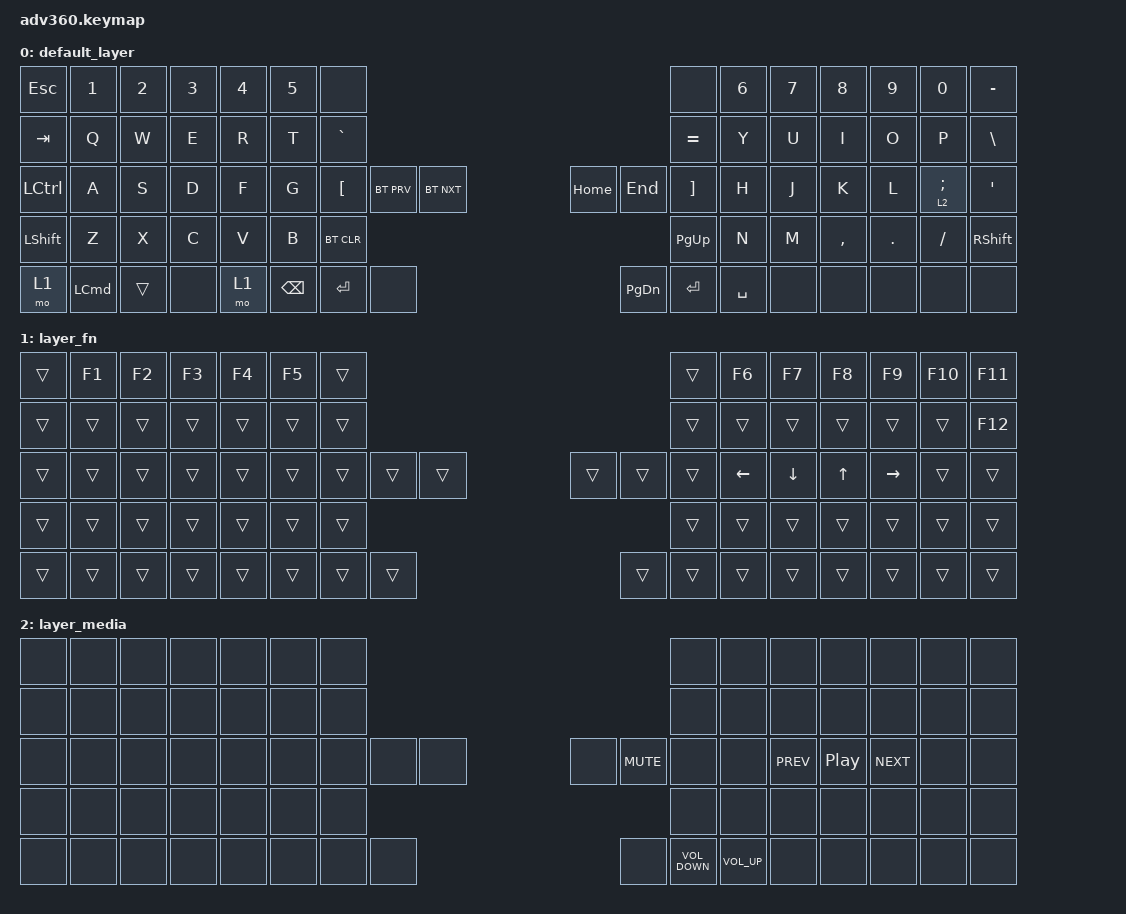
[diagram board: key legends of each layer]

/*
 * Copyright (c) 2020 The ZMK Contributors
 *
 * SPDX-License-Identifier: MIT
 */


/* THIS FILE WAS GENERATED!
 *
 * This file was generated automatically. You may or may not want to
 * edit it directly.
 */

#include <behaviors.dtsi>
#include <dt-bindings/zmk/keys.h>
#include <dt-bindings/zmk/bt.h>

/ {
  behaviors {
    #include "macros.dtsi"

    hm: homerow_mods {
        compatible = "zmk,behavior-hold-tap";
        label = "HOMEROW_MODS";
        #binding-cells = <2>;
        tapping-term-ms = <200>;
        quick_tap_ms = <175>;
        flavor = "tap-preferred";
        bindings = <&kp>, <&kp>;
    };
  };

    keymap {
        compatible = "zmk,keymap";


        default_layer {
            bindings = <
          &kp ESC    &kp N1  &kp N2  &kp N3  &kp N4  &kp N5                       &none                                                                            &none  &kp N6  &kp N7     &kp N8   &kp N9           &kp N0  &kp MINUS
          &kp TAB     &kp Q   &kp W   &kp E   &kp R   &kp T                   &kp GRAVE                                                                        &kp EQUAL   &kp Y   &kp U      &kp I    &kp O            &kp P   &kp BSLH
 &kp LEFT_CONTROL     &kp A   &kp S   &kp D   &kp F   &kp G            &kp LEFT_BRACKET  &bt BT_PRV  &bt BT_NXT                   &kp HOME    &kp END  &kp RIGHT_BRACKET   &kp H   &kp J      &kp K    &kp L  &lt 2 SEMICOLON    &kp SQT
        &kp LSHFT     &kp Z   &kp X   &kp C   &kp V   &kp B                                          &bt BT_CLR                  &kp PG_UP                                 &kp N   &kp M  &kp COMMA  &kp DOT         &kp FSLH  &kp RSHFT
            &mo 1  &kp LCMD  &trans   &none   &mo 1                            &kp BSPC   &kp ENTER       &none                  &kp PG_DN  &kp ENTER          &kp SPACE           &none      &none    &none            &none      &none
            >;
        };

        layer_fn {
            bindings = <
 &trans  &kp F1  &kp F2  &kp F3  &kp F4  &kp F5            &trans                                                  &trans    &kp F6    &kp F7  &kp F8     &kp F9  &kp F10  &kp F11
 &trans  &trans  &trans  &trans  &trans  &trans            &trans                                                  &trans    &trans    &trans  &trans     &trans   &trans  &kp F12
 &trans  &trans  &trans  &trans  &trans  &trans            &trans  &trans  &trans                  &trans  &trans  &trans  &kp LEFT  &kp DOWN  &kp UP  &kp RIGHT   &trans   &trans
 &trans  &trans  &trans  &trans  &trans  &trans                            &trans                  &trans                    &trans    &trans  &trans     &trans   &trans   &trans
 &trans  &trans  &trans  &trans  &trans                    &trans  &trans  &trans                  &trans  &trans  &trans              &trans  &trans     &trans   &trans   &trans
            >;
        };

        layer_media {
            bindings = <
  &none   &none   &none   &none   &none   &none            &none                                                                    &none   &none       &none     &none       &none   &none   &none
  &none   &none   &none   &none   &none   &none            &none                                                                    &none   &none       &none     &none       &none   &none   &none
  &none   &none   &none   &none   &none   &none            &none   &none   &none                   &none         &kp C_MUTE         &none   &none  &kp C_PREV  &kp C_PP  &kp C_NEXT   &none   &none
  &none   &none   &none   &none   &none   &none                            &none                   &none                                    &none       &none     &none       &none   &none   &none
  &none   &none   &none   &none   &none                    &none   &none   &none                   &none  &kp C_VOLUME_DOWN  &kp C_VOL_UP               &none     &none       &none   &none   &none
            >;
        };

    };
};
